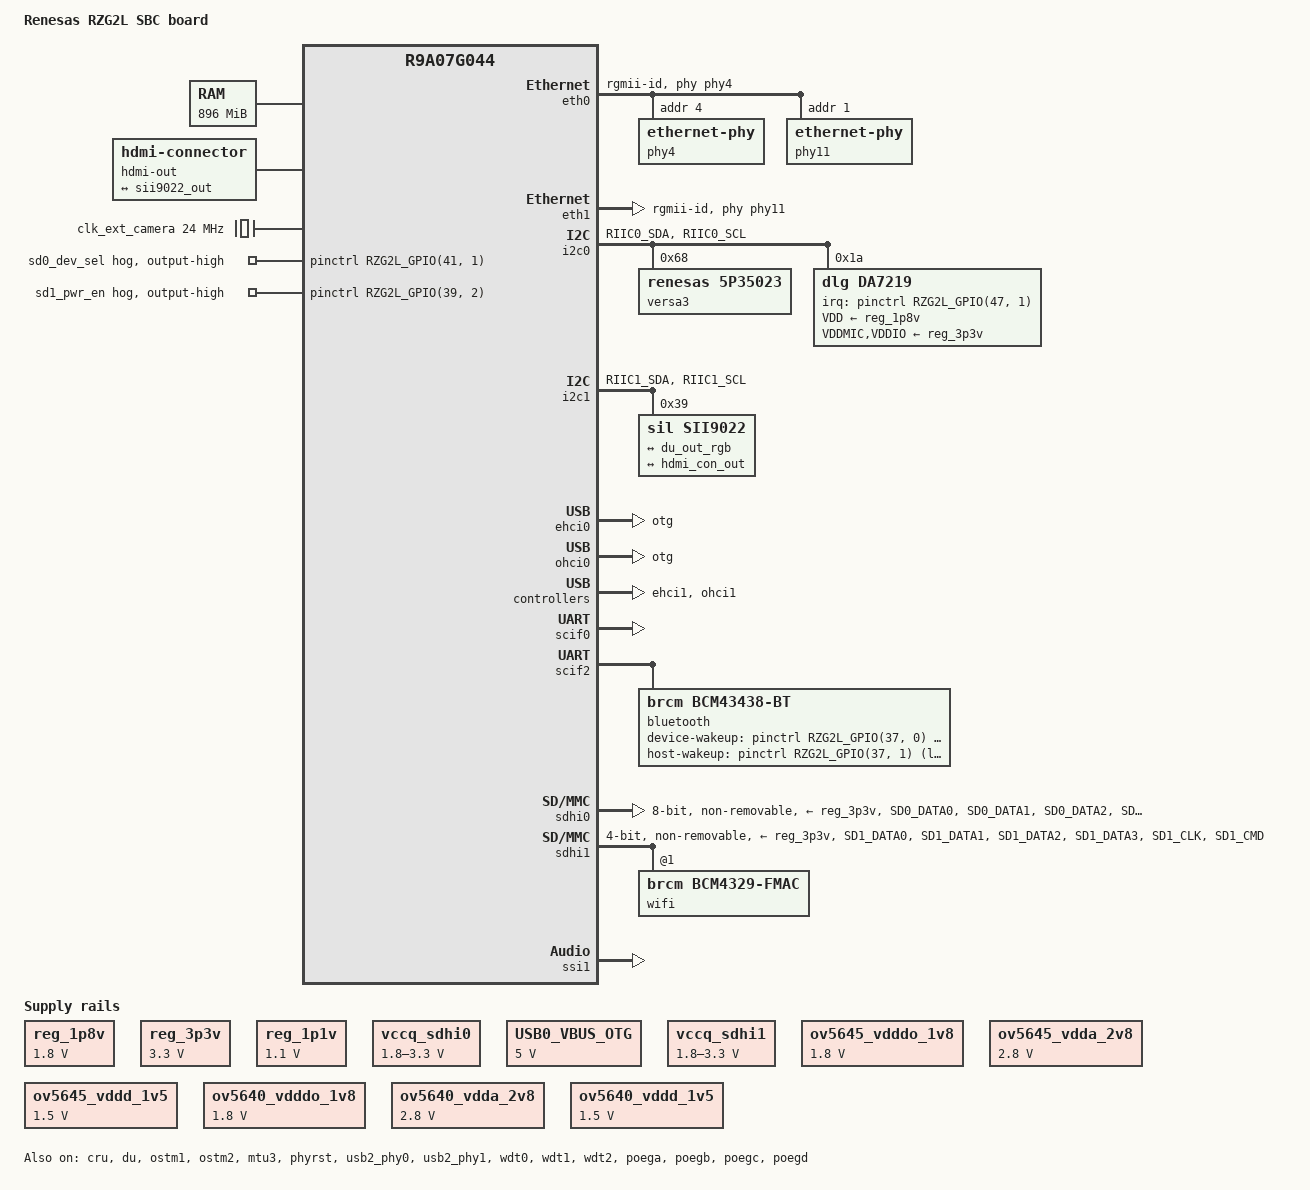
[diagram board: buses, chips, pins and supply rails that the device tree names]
// SPDX-License-Identifier: (GPL-2.0-only OR BSD-2-Clause)
/*
 * Device Tree Source for the RZ/G2L SBC board
 *
 * Copyright (C) 2023 Renesas Electronics Corp.
 */

/dts-v1/;
#include "r9a07g044l2.dtsi"
#include <dt-bindings/gpio/gpio.h>
#include <dt-bindings/pinctrl/rzg2l-pinctrl.h>

/ {
	compatible = "rzpi", "renesas,r9a07g044l2", "renesas,r9a07g044";
	model = "Renesas RZG2L SBC board";

	aliases {
		ethernet0 = &eth0;
		ethernet1 = &eth1;
		i2c0 = &i2c0;
		i2c1 = &i2c1;
		mmc0 = &sdhi0;
		mmc1 = &sdhi1;
		serial0 = &scif0;
		serial2 = &scif2;
	};

	chosen {
		bootargs = "ignore_loglevel rw root=/dev/nfs ip=on";
		stdout-path = "serial0:115200n8";
	};

	memory@48000000 {
		device_type = "memory";
		reg = <0x0 0x48000000 0x0 0x38000000>;
	};

	reserved-memory {
		#address-cells = <0x2>;
		#size-cells = <0x2>;
		ranges;

		global_cma: linux,cma@58000000 {
			compatible = "shared-dma-pool";
			linux,cma-default;
			reusable;
			reg = <0x0 0x58000000 0x0 0x8000000>;
		};

		mmp_reserved: linux,multimedia {
			compatible = "shared-dma-pool";
			reusable;
			reg = <0x0 0x60000000 0x0 0x8000000>;
		};
	};

	mmngr {
		compatible = "renesas,mmngr";
		memory-region = <&mmp_reserved>;
	};

	mmngrbuf {
		compatible = "renesas,mmngrbuf";
	};

	vspm_if {
		compatible = "renesas,vspm_if";
	};

	reg_1p8v: regulator0 {
		compatible = "regulator-fixed";
		regulator-name = "fixed-1.8V";
		regulator-min-microvolt = <1800000>;
		regulator-max-microvolt = <1800000>;
		regulator-boot-on;
		regulator-always-on;
	};

	reg_3p3v: regulator1 {
		compatible = "regulator-fixed";
		regulator-name = "fixed-3.3V";
		regulator-min-microvolt = <3300000>;
		regulator-max-microvolt = <3300000>;
		regulator-boot-on;
		regulator-always-on;
	};

	reg_1p1v: regulator-vdd-core {
		compatible = "regulator-fixed";
		regulator-name = "fixed-1.1V";
		regulator-min-microvolt = <1100000>;
		regulator-max-microvolt = <1100000>;
		regulator-boot-on;
		regulator-always-on;
	};

	vccq_sdhi0: regulator-vccq-sdhi0 {
		compatible = "regulator-gpio";

		regulator-name = "SDHI0 VccQ";
		regulator-min-microvolt = <1800000>;
		regulator-max-microvolt = <3300000>;
		states = <3300000 1>, <1800000 0>;
		regulator-boot-on;
		gpios = <&pinctrl RZG2L_GPIO(39, 0) GPIO_ACTIVE_HIGH>;
		regulator-always-on;
	};

	regulator-usb0-vbus-otg {
		compatible = "regulator-fixed";
		regulator-name = "USB0_VBUS_OTG";
		regulator-min-microvolt = <5000000>;
		regulator-max-microvolt = <5000000>;
	};

	vccq_sdhi1: regulator-vccq-sdhi1 {
		compatible = "regulator-gpio";
		regulator-name = "SDHI1 VccQ";
		regulator-min-microvolt = <1800000>;
		regulator-max-microvolt = <3300000>;
		gpios-states = <1>;
		gpios = <&pinctrl RZG2L_GPIO(39, 1) GPIO_ACTIVE_HIGH>;
		states = <3300000 1>, <1800000 0>;
	};

	ov5645_vdddo_1v8: 1p8v {
		compatible = "regulator-fixed";
		regulator-name = "camera_vdddo";
		regulator-min-microvolt = <1800000>;
		regulator-max-microvolt = <1800000>;
		regulator-always-on;
	};

	ov5645_vdda_2v8: 2p8v {
		compatible = "regulator-fixed";
		regulator-name = "camera_vdda";
		regulator-min-microvolt = <2800000>;
		regulator-max-microvolt = <2800000>;
		regulator-always-on;
	};

	ov5645_vddd_1v5: 1p5v {
		compatible = "regulator-fixed";
		regulator-name = "camera_vddd";
		regulator-min-microvolt = <1500000>;
		regulator-max-microvolt = <1500000>;
		regulator-always-on;
	};

	hdmi-out {
		compatible = "hdmi-connector";
		type = "a";

		status = "okay";

		port {
			hdmi_con_out: endpoint {
				remote-endpoint = <&sii9022_out>;
			};
		};
	};

	/* brightness control */
	backlight: backlight {
		compatible = "pwm-backlight";
		pwms = <&gpt5 0 40000 0>;
		brightness-levels = <0 8 32 64 96 128 160 192 224 255>;
		default-brightness-level = <8>;
		status = "disabled";
	};

	x1_clk: x1-clock {
		compatible = "fixed-clock";
		#clock-cells = <0>;
		clock-frequency = <24000000>;
	};

	sound {
		compatible = "simple-audio-card";
		simple-audio-card,name = "audio-da7219";
		simple-audio-card,format = "i2s";
		simple-audio-card,bitclock-master = <&cpu_dai>;
		simple-audio-card,frame-master = <&cpu_dai>;

		simple-audio-card,widgets =
				"Microphone", "Microphone Jack",
				"Headphone", "Headphone Jack";
		simple-audio-card,routing =
				"MIC", "Microphone Jack",
				"Mic PGA", "ADC",
				"Mixin PGA", "ADC",
				"Mixout Left PGA", "HPL",
				"Mixout Right PGA", "HPR",
				"Headphone Jack", "HPL",
				"Headphone Jack", "HPR";

		cpu_dai: simple-audio-card,cpu {
			sound-dai = <&ssi1>;
		};

		codec_dai: simple-audio-card,codec {
			clocks = <&versa3 0>;
			sound-dai = <&da7219>;
		};
	};

	clk_ext_camera: clk_ext_camera {
		compatible = "fixed-clock";
		#clock-cells = <0>;
		clock-frequency = <24000000>;
	};

	ov5640_vdddo_1v8: 1p8v {
		compatible = "regulator-fixed";
		regulator-name = "camera_vdddo";
		regulator-min-microvolt = <1800000>;
		regulator-max-microvolt = <1800000>;
		regulator-always-on;
	};

	ov5640_vdda_2v8: 2p8v {
		compatible = "regulator-fixed";
		regulator-name = "camera_vdda";
		regulator-min-microvolt = <2800000>;
		regulator-max-microvolt = <2800000>;
		regulator-always-on;
	};

	ov5640_vddd_1v5: 1p5v {
		compatible = "regulator-fixed";
		regulator-name = "camera_vddd";
		regulator-min-microvolt = <1500000>;
		regulator-max-microvolt = <1500000>;
		regulator-always-on;
	};

};

&pinctrl {
	pinctrl-0 = <&sound_clk_pins>;
	pinctrl-names = "default";

	adc_pins: adc {
		pinmux = <RZG2L_PORT_PINMUX(9, 0, 2)>; /* ADC_TRG */
	};

	du_pins: du {
		pinmux = <RZG2L_PORT_PINMUX(6, 0, 1)>, /* CLK */
			 <RZG2L_PORT_PINMUX(6, 1, 1)>, /* HSYNC */
			 <RZG2L_PORT_PINMUX(7, 0, 1)>, /* VSYNC */
			 <RZG2L_PORT_PINMUX(7, 1, 1)>, /* DE */
			 <RZG2L_PORT_PINMUX(8, 1, 1)>,
			 <RZG2L_PORT_PINMUX(8, 2, 1)>,
			 <RZG2L_PORT_PINMUX(9, 0, 1)>,
			 <RZG2L_PORT_PINMUX(9, 1, 1)>,
			 <RZG2L_PORT_PINMUX(10, 0, 1)>,
			 <RZG2L_PORT_PINMUX(10, 1, 1)>,
			 <RZG2L_PORT_PINMUX(12, 0, 1)>,
			 <RZG2L_PORT_PINMUX(12, 1, 1)>,
			 <RZG2L_PORT_PINMUX(13, 0, 1)>,
			 <RZG2L_PORT_PINMUX(13, 1, 1)>,
			 <RZG2L_PORT_PINMUX(13, 2, 1)>,
			 <RZG2L_PORT_PINMUX(14, 0, 1)>,
			 <RZG2L_PORT_PINMUX(15, 1, 1)>,
			 <RZG2L_PORT_PINMUX(16, 0, 1)>,
			 <RZG2L_PORT_PINMUX(16, 1, 1)>,
			 <RZG2L_PORT_PINMUX(17, 0, 1)>,
			 <RZG2L_PORT_PINMUX(17, 1, 1)>,
			 <RZG2L_PORT_PINMUX(17, 2, 1)>;
	};

	eth0_pins: eth0 {
		pinmux = <RZG2L_PORT_PINMUX(27, 1, 1)>, /* ET0_MDC */
			 <RZG2L_PORT_PINMUX(28, 0, 1)>, /* ET0_MDIO */
			 <RZG2L_PORT_PINMUX(20, 0, 1)>, /* ET0_TXC */
			 <RZG2L_PORT_PINMUX(20, 1, 1)>, /* ET0_TX_CTL */
			 <RZG2L_PORT_PINMUX(20, 2, 1)>, /* ET0_TXD0 */
			 <RZG2L_PORT_PINMUX(21, 0, 1)>, /* ET0_TXD1 */
			 <RZG2L_PORT_PINMUX(21, 1, 1)>, /* ET0_TXD2 */
			 <RZG2L_PORT_PINMUX(22, 0, 1)>, /* ET0_TXD3 */
			 <RZG2L_PORT_PINMUX(24, 0, 1)>, /* ET0_RXC */
			 <RZG2L_PORT_PINMUX(24, 1, 1)>, /* ET0_RX_CTL */
			 <RZG2L_PORT_PINMUX(25, 0, 1)>, /* ET0_RXD0 */
			 <RZG2L_PORT_PINMUX(25, 1, 1)>, /* ET0_RXD1 */
			 <RZG2L_PORT_PINMUX(26, 0, 1)>, /* ET0_RXD2 */
			 <RZG2L_PORT_PINMUX(26, 1, 1)>; /* ET0_RXD3 */
	};

	eth1_pins: eth1 {
		pinmux = <RZG2L_PORT_PINMUX(29, 0, 1)>, /* ET1_TXC */
			 <RZG2L_PORT_PINMUX(29, 1, 1)>, /* ET1_TX_CTL */
			 <RZG2L_PORT_PINMUX(30, 0, 1)>, /* ET1_TXD0 */
			 <RZG2L_PORT_PINMUX(30, 1, 1)>, /* ET1_TXD1 */
			 <RZG2L_PORT_PINMUX(31, 0, 1)>, /* ET1_TXD2 */
			 <RZG2L_PORT_PINMUX(31, 1, 1)>, /* ET1_TXD3 */
			 <RZG2L_PORT_PINMUX(33, 1, 1)>, /* ET1_RXC */
			 <RZG2L_PORT_PINMUX(34, 0, 1)>, /* ET1_RX_CTL */
			 <RZG2L_PORT_PINMUX(34, 1, 1)>, /* ET1_RXD0 */
			 <RZG2L_PORT_PINMUX(35, 0, 1)>, /* ET1_RXD1 */
			 <RZG2L_PORT_PINMUX(35, 1, 1)>, /* ET1_RXD2 */
			 <RZG2L_PORT_PINMUX(36, 0, 1)>; /* ET1_RXD3 */
	};

	i2c0_pins: i2c0 {
		pins = "RIIC0_SDA", "RIIC0_SCL";
		input-enable;
	};

	i2c1_pins: i2c1 {
		pins = "RIIC1_SDA", "RIIC1_SCL";
		input-enable;
	};

	scif0_pins: scif0 {
		pinmux = <RZG2L_PORT_PINMUX(38, 0, 1)>, /* TxD */
			 <RZG2L_PORT_PINMUX(38, 1, 1)>; /* RxD */
	};

	scif2_pins: scif2 {
		pinmux = <RZG2L_PORT_PINMUX(48, 0, 1)>, /* TxD */
			 <RZG2L_PORT_PINMUX(48, 1, 1)>, /* RxD */
			 <RZG2L_PORT_PINMUX(42, 3, 4)>, /* CTS# */
			 <RZG2L_PORT_PINMUX(42, 4, 4)>; /* RTS# */
	};

	sd0-dev-sel-hog {
		gpio-hog;
		gpios = <RZG2L_GPIO(41, 1) GPIO_ACTIVE_HIGH>;
		output-high;
		line-name = "sd0_dev_sel";
	};

	sdhi0_emmc_pins: sd0emmc {
		sd0_emmc_data {
			pins = "SD0_DATA0", "SD0_DATA1", "SD0_DATA2", "SD0_DATA3",
				"SD0_DATA4", "SD0_DATA5", "SD0_DATA6", "SD0_DATA7";
			power-source = <1800>;
		};

		sd0_emmc_ctrl {
			pins = "SD0_CLK", "SD0_CMD";
			power-source = <1800>;
		};

		sd0_emmc_rst {
			pins = "SD0_RST#";
			power-source = <1800>;
		};
	};

	sdhi0_pins: sd0 {
		sd0_data {
			pins = "SD0_DATA0", "SD0_DATA1", "SD0_DATA2", "SD0_DATA3";
			power-source = <3300>;
		};

		sd0_ctrl {
			pins = "SD0_CLK", "SD0_CMD";
			power-source = <3300>;
		};

		sd0_mux {
			pinmux = <RZG2L_PORT_PINMUX(47, 0, 2)>; /* SD0_CD */
		};
	};

	sdhi0_pins_uhs: sd0_uhs {
		sd0_data_uhs {
			pins = "SD0_DATA0", "SD0_DATA1", "SD0_DATA2", "SD0_DATA3";
			power-source = <1800>;
		};

		sd0_ctrl_uhs {
			pins = "SD0_CLK", "SD0_CMD";
			power-source = <1800>;
		};

		sd0_mux_uhs {
			pinmux = <RZG2L_PORT_PINMUX(47, 0, 2)>; /* SD0_CD */
		};
	};

	sd1-pwr-en-hog {
		gpio-hog;
		gpios = <RZG2L_GPIO(39, 2) GPIO_ACTIVE_HIGH>;
		output-high;
		line-name = "sd1_pwr_en";
	};

	sdhi1_pins: sd1 {
		sd1_data {
			pins = "SD1_DATA0", "SD1_DATA1", "SD1_DATA2", "SD1_DATA3";
			power-source = <3300>;
		};

		sd1_ctrl {
			pins = "SD1_CLK", "SD1_CMD";
			power-source = <3300>;
		};
	};

	sdhi1_pins_uhs: sd1_uhs {
		sd1_data_uhs {
			pins = "SD1_DATA0", "SD1_DATA1", "SD1_DATA2", "SD1_DATA3";
			power-source = <1800>;
		};

		sd1_ctrl_uhs {
			pins = "SD1_CLK", "SD1_CMD";
			power-source = <1800>;
		};
	};

	sound_clk_pins: sound_clk {
		pins = "AUDIO_CLK1", "AUDIO_CLK2";
		input-enable;
	};

	ssi0_pins: ssi0 {
		pinmux = <RZG2L_PORT_PINMUX(45, 0, 1)>, /* BCK */
			 <RZG2L_PORT_PINMUX(45, 1, 1)>, /* RCK */
			 <RZG2L_PORT_PINMUX(45, 2, 1)>, /* TXD */
			 <RZG2L_PORT_PINMUX(45, 3, 1)>; /* RXD */
	};

	ssi1_pins: ssi1 {
		pinmux = <RZG2L_PORT_PINMUX(44, 0, 2)>, /* BCK */
			 <RZG2L_PORT_PINMUX(44, 1, 2)>, /* RCK */
			 <RZG2L_PORT_PINMUX(44, 2, 2)>, /* TXD */
			 <RZG2L_PORT_PINMUX(44, 3, 2)>; /* RXD */
	};

	ssi2_pins: ssi2 {
		pinmux = <RZG2L_PORT_PINMUX(5, 0, 4)>,
			 <RZG2L_PORT_PINMUX(5, 1, 4)>,
			 <RZG2L_PORT_PINMUX(5, 2, 4)>;
	};

	gpt4_pins: gpt4 {
		pinmux = <RZG2L_PORT_PINMUX(43, 0, 2)>, /* Channel A */
			 <RZG2L_PORT_PINMUX(43, 1, 2)>; /* Channel B */
	};

	gpt5_pins: gpt5 {
		pinmux = <RZG2L_PORT_PINMUX(43, 2, 2)>; /* Channel A */
	};
};

&adc {
	pinctrl-0 = <&adc_pins>;
	pinctrl-names = "default";
	status = "disabled";

	/delete-node/ channel@6;
	/delete-node/ channel@7;
};

&audio_clk1 {
	clock-frequency = <11289600>;
};

&audio_clk2 {
	clock-frequency = <12288000>;
};

&cru {
	status = "okay";
};

&csi2 {
	status = "disabled";
		ports {
		port {
			csi2_in: endpoint {
				clock-lanes = <0>;
				data-lanes = <1 2>;
				remote-endpoint = <&ov5640_to_csi>;
			};
		};
	};
};

&du {
	pinctrl-0 = <&du_pins>;
	pinctrl-names = "default";

	status = "okay";

	ports {

		port@0 {
			reg = <0>;

			du_out_rgb: endpoint {
				remote-endpoint = <&sii9022_in>;
			};
		};

		port@1 {
			reg = <1>;

			du_out_dsi: endpoint {
				remote-endpoint = <&dsi0_in>;
			};
		};
	};
};

&eth0 {
	pinctrl-0 = <&eth0_pins>;
	pinctrl-names = "default";
	phy-handle = <&phy4>;
	phy-mode = "rgmii-id";
	status = "okay";

	phy4: ethernet-phy@4 {
		reg = <0x4>;
	};

	phy11: ethernet-phy@1 {
		reg = <0x1>;
	};
};

&eth1 {
	pinctrl-0 = <&eth1_pins>;
	pinctrl-names = "default";
	phy-handle = <&phy11>;
	phy-mode = "rgmii-id";
	status = "okay";
};

&extal_clk {
	clock-frequency = <24000000>;
};

&gpu {
	mali-supply = <&reg_1p1v>;

	/delete-property/power-domains;
};

&ostm1 {
	status = "okay";
};

&ostm2 {
	status = "okay";
};

&i2c0 {
	pinctrl-0 = <&i2c0_pins>;
	pinctrl-names = "default";

	status = "okay";

	versa3: versa3@68 {
		compatible = "renesas,5p35023";
		reg = <0x68>;
		status = "okay";

		#clock-cells = <1>;
		clocks = <&x1_clk>;
		clock-names = "x1";

		renesas,settings = [
			80 00 00 19 00 42 cc 0b 04 32 00 1a 5f 12 90 7b
			00 32 00 00 00 00 00 00 01 24 03 b0 33 38 90 84
			e0 c0 74 c4 96
		];

		assigned-clocks = <&versa3 0>,
				<&versa3 1>,
				<&versa3 2>,
				<&versa3 3>,
				<&versa3 4>,
				<&versa3 5>;
		assigned-clock-rates =	<12288000>, <25000000>,
					<12000000>, <11289600>,
					<11289600>, <24000000>;
		clock-divider-read-only = <1>, <1>, <1>, <1>, <1>;
		clock-flags = <2176>, <2176>, <2176>, <2052>, <2176>, <2048>;
	};

	da7219: codec@1a {
		compatible = "dlg,da7219";
		#sound-dai-cells = <0>;
		reg = <0x1a>;
		status = "okay";

		interrupt-parent = <&pinctrl>;
		interrupts = <RZG2L_GPIO(47, 1) IRQ_TYPE_LEVEL_LOW>;

		dlg,micbias-lvl = <2600>;
		dlg,mic-amp-in-sel = "diff";
		VDD-supply = <&reg_1p8v>;
		VDDMIC-supply = <&reg_3p3v>;
		VDDIO-supply = <&reg_3p3v>;
		clock-names = "mclk";

		da7219_aad {
			dlg,btn-cfg = <50>;
			dlg,mic-det-thr = <500>;
			dlg,jack-ins-deb = <20>;
			dlg,jack-det-rate = "32ms_64ms";
			dlg,jack-rem-deb = <1>;

			dlg,a-d-btn-thr = <0xa>;
			dlg,d-b-btn-thr = <0x16>;
			dlg,b-c-btn-thr = <0x21>;
			dlg,c-mic-btn-thr = <0x3E>;

			dlg,btn-avg = <4>;
			dlg,adc-1bit-rpt = <1>;
		};
	};
};

&i2c1 {
	pinctrl-0 = <&i2c1_pins>;
	pinctrl-names = "default";

	status = "okay";

	ov5640: camera@3c {
		compatible = "ovti,ov5640";
		reg = <0x3c>;
		status = "disabled";

		clock-names = "xclk";
		clocks = <&clk_ext_camera>;
		clock-frequency = <24000000>;
		DOVDD-supply = <&ov5640_vdddo_1v8>;
		DVDD-supply = <&ov5640_vddd_1v5>;
		AVDD-supply = <&ov5640_vdda_2v8>;

		powerdown-gpios = <&pinctrl RZG2L_GPIO(19, 0) GPIO_ACTIVE_LOW>;
		reset-gpios = <&pinctrl RZG2L_GPIO(18, 1) GPIO_ACTIVE_HIGH>;

		port {
			ov5640_to_csi: endpoint {
				clock-lanes = <0>;
				data-lanes = <1 2>;
				remote-endpoint = <&csi2_in>;
			};
		};
	};

	sii9022: hdmi@39 {
		#sound-dai-cells = <0x0>;
		compatible = "sil,sii9022";
		reg = <0x39>;
		status = "okay";

		ports {
			#address-cells = <1>;
			#size-cells = <0>;

			port@0 {
				reg = <0>;

				sii9022_in: endpoint {
					remote-endpoint = <&du_out_rgb>;
				};
			};

			port@1 {
				reg = <1>;

				sii9022_out: endpoint {
					remote-endpoint = <&hdmi_con_out>;
				};
			};
		};
	};

	rzsbc_mcu: rzsbc_mcu@45 {
		compatible = "rzsbc_mcu";
		reg = <0x45>;
		status = "disabled";
	};

	rzsbc_ft5406: rzsbc_ft5406@38 {
		compatible = "rzsbc_ft5406";
		reg = <0x38>;
		status = "disabled";
	};
};

&mtu3 {
	status = "okay";
};

&ehci0 {
	memory-region = <&global_cma>;
	dr_mode = "otg";
	status = "okay";
};

&ohci0 {
	memory-region = <&global_cma>;
	dr_mode = "otg";
	status = "okay";
};

&ehci1 {
	memory-region = <&global_cma>;
	status = "okay";
};

&ohci1 {
	memory-region = <&global_cma>;
	status = "okay";
};

&hsusb {
	status = "disabled";
};

&phyrst {
	status = "okay";
};

&usb2_phy0 {
	status = "okay";
};

&usb2_phy1 {
	status = "okay";
};

&scif0 {
	pinctrl-0 = <&scif0_pins>;
	pinctrl-names = "default";
	status = "okay";
};

&scif2 {
	pinctrl-0 = <&scif2_pins>;
	pinctrl-names = "default";

	uart-has-rtscts;
	status = "okay";

	bluetooth {
		compatible = "brcm,bcm43438-bt";
		device-wakeup-gpios = <&pinctrl RZG2L_GPIO(37, 0) GPIO_ACTIVE_LOW>;
		host-wakeup-gpios = <&pinctrl RZG2L_GPIO(37, 1) GPIO_ACTIVE_LOW>;
		status = "okay";
	};
};

/* Both eMMC and external uSD card */
&sdhi0 {
	pinctrl-0 = <&sdhi0_emmc_pins>;
	pinctrl-1 = <&sdhi0_emmc_pins>;
	pinctrl-names = "default", "state_uhs";

	vmmc-supply = <&reg_3p3v>;
	vqmmc-supply = <&reg_1p8v>;
	bus-width = <8>;
	mmc-hs200-1_8v;
	non-removable;
	fixed-emmc-driver-type = <1>;
	status = "okay";
};

&sdhi1 {
	pinctrl-0 = <&sdhi1_pins>;
	pinctrl-1 = <&sdhi1_pins_uhs>;
	pinctrl-names = "default", "state_uhs";

	vmmc-supply = <&reg_3p3v>;
	vqmmc-supply = <&vccq_sdhi1>;
	bus-width = <4>;
	sd-uhs-sdr50;
	sd-uhs-sdr104;
	status = "okay";
	#address-cells = <0x1>;
	#size-cells = <0x0>;
	no-1-8-v;
	no-mmc;
	non-removable;
	keep-power-in-suspend;

	wifi@1 {
		reg = <0x1>;
		compatible = "brcm,bcm4329-fmac";
	};
};

&wdt0 {
	status = "okay";
	timeout-sec = <60>;
};

&wdt1 {
	status = "okay";
	timeout-sec = <60>;
};

&wdt2 {
	status = "okay";
	timeout-sec = <60>;
};

&poega {
	status = "okay";
};

&poegb {
	status = "okay";
};

&poegc {
	status = "okay";
};

&poegd {
	status = "okay";
};

&gpt4 {
	pinctrl-0 = <&gpt4_pins>;
	pinctrl-names = "default";
	channel = "both_AB";
	poeg = <&poega &poegb &poegc &poegd>;
	status = "disabled";
};

&ssi0 {
	pinctrl-0 = <&ssi0_pins>;
	pinctrl-names = "default";

	status = "disabled";
};

&ssi1 {
	pinctrl-0 = <&ssi1_pins>;
	pinctrl-names = "default";

	status = "okay";
};

&gpt5 {
	pinctrl-0 = <&gpt5_pins>;
	pinctrl-names = "default";
	channel="channel_A";
	poeg = <&poegd>;
	status = "disabled";
};

&dsi0 {
	status = "disabled";
	#address-cells = <1>;
	#size-cells = <0>;

	ports {
		port@0 {
			reg = <0>;

			dsi0_in: endpoint {
				remote-endpoint = <&du_out_dsi>;
			};
		};

		port@1 {
			reg = <1>;

			dsi0_out: endpoint {
				remote-endpoint = <&panel_in>;
				data-lanes = <1 2>;
			};
		};
	};

	mipi_panel: panel@0 {
		compatible = "rzsbc,tc358762";
		reg = <0>;
		status = "disabled";

		port {
			panel_in: endpoint {
				remote-endpoint = <&dsi0_out>;
			};
		};
	};
};
